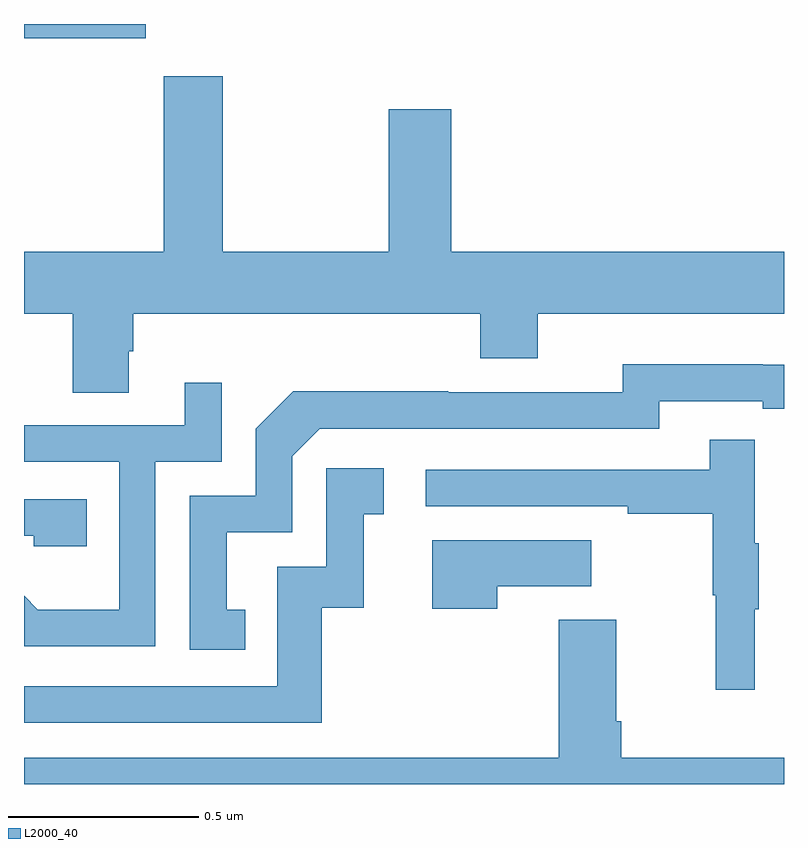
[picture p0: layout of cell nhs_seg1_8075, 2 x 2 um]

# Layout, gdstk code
import gdstk
lib = gdstk.Library(unit=1e-6, precision=1e-09)
def R(c, l, rs):  # rectangles x0, y0, x1, y1
    for r in rs: c.add(gdstk.rectangle(r[:2], r[2:], *l))
def P(c, l, *ps):  # polygons
    for p in ps: c.add(gdstk.Polygon(p, *l))
L2000_40 = (2000, 40)

nhs_seg1_8075 = lib.new_cell('nhs_seg1_8075')
R(nhs_seg1_8075, L2000_40, [(212,515.162,212.32,515.199)])
P(nhs_seg1_8075, L2000_40, [(212.275,514.338),(212.288,514.338),(212.288,514.436),(213.2,514.436),(213.2,514.319),(213.352,514.319),(213.352,514.436),(214,514.436),(214,514.6),(213.124,514.6),(213.124,514.975),(212.96,514.975),(212.96,514.6),(212.523,514.6),(212.523,515.062),(212.368,515.062),(212.368,514.6),(212,514.6),(212,514.436),(212.128,514.436),(212.128,514.228),(212.275,514.228)],
  [(212.582,513.657),(212.533,513.657),(212.533,513.861),(212.706,513.861),(212.706,514.062),(212.778,514.134),(213.672,514.134),(213.672,514.206),(213.944,514.206),(213.944,514.186),(214,514.186),(214,514.302),(213.944,514.302),(213.944,514.303),(213.576,514.303),(213.576,514.23),(213.116,514.23),(213.116,514.232),(212.708,514.232),(212.61,514.134),(212.61,513.957),(212.436,513.957),(212.436,513.552),(212.582,513.552)],
  [(212.346,514.047),(212.52,514.047),(212.52,514.255),(212.423,514.255),(212.423,514.143),(212,514.143),(212,514.047),(212.25,514.047),(212.25,513.658),(212.036,513.658),(212,513.694),(212,513.561),(212.346,513.561)],
  [(213.923,513.659),(213.934,513.659),(213.934,513.833),(213.923,513.833),(213.923,514.105),(213.805,514.105),(213.805,514.026),(213.057,514.026),(213.057,513.93),(213.589,513.93),(213.589,513.91),(213.813,513.91),(213.813,513.696),(213.82,513.696),(213.82,513.447),(213.923,513.447)],
  [(212.783,513.663),(212.894,513.663),(212.894,513.909),(212.947,513.909),(212.947,514.03),(212.796,514.03),(212.796,513.771),(212.667,513.771),(212.667,513.456),(212,513.456),(212,513.36),(212.783,513.36)],
  [(212.165,513.948),(212,513.948),(212,513.852),(212.025,513.852),(212.025,513.825),(212.165,513.825)],
  [(213.245,513.719),(213.493,513.719),(213.493,513.841),(213.074,513.841),(213.074,513.66),(213.245,513.66)],
  [(213.559,513.364),(213.559,513.631),(213.407,513.631),(213.407,513.268),(212,513.268),(212,513.199),(214,513.199),(214,513.268),(213.572,513.268),(213.572,513.364)])

lib.write_gds('nhs_seg1_8075.gds')
